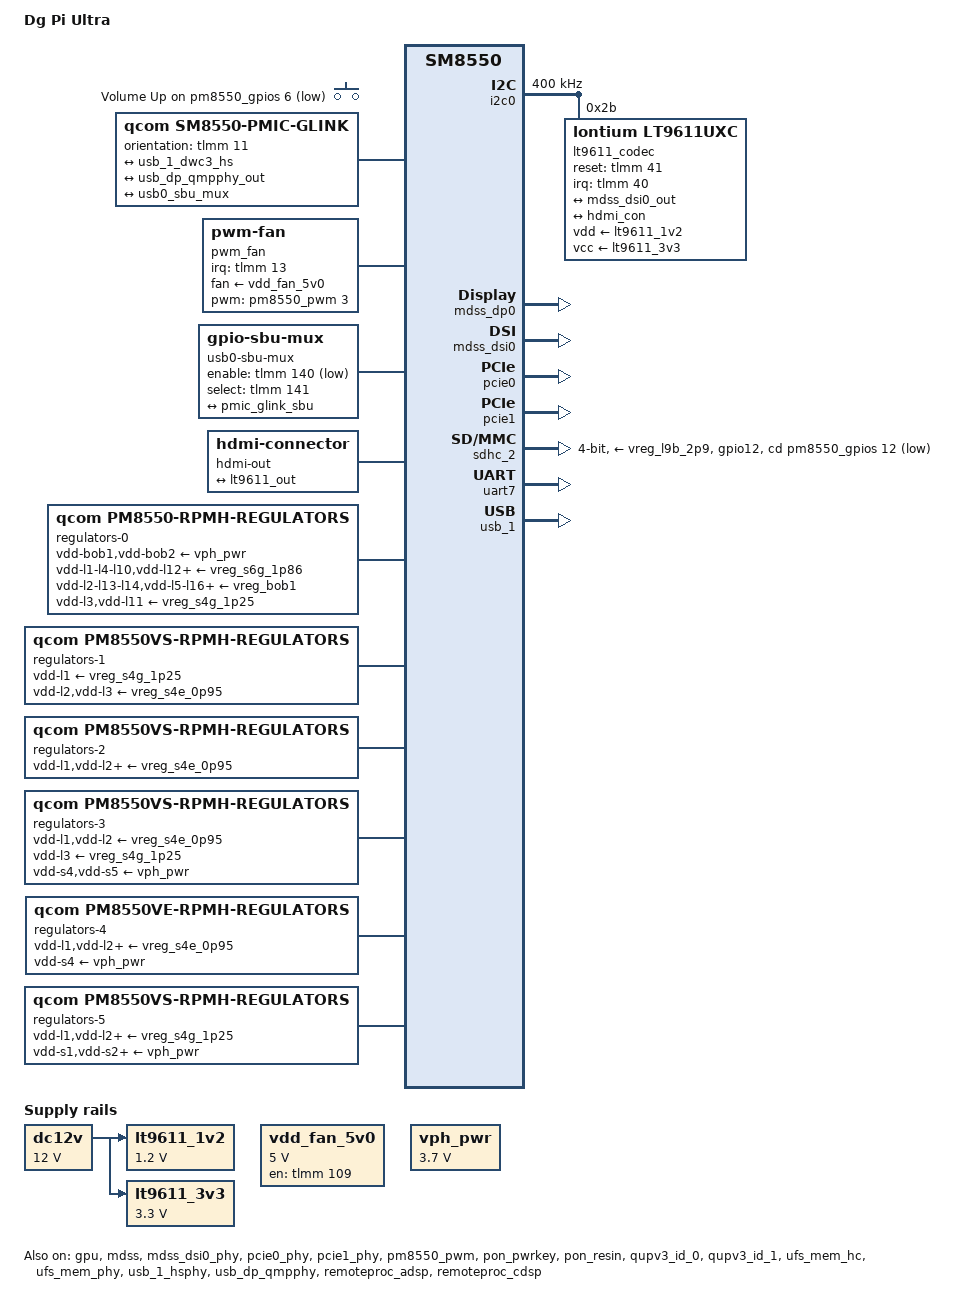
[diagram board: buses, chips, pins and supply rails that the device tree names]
// SPDX-License-Identifier: BSD-3-Clause
/*
 * Copyright (c) 2025, Teguh Sobirin.
 */

#include <dt-bindings/leds/common.h>
#include <dt-bindings/regulator/qcom,rpmh-regulator.h>
#include "qcs8550.dtsi"
#include "pm8550.dtsi"
#include "pm8550b.dtsi"
#define PMK8550VE_SID 5
#include "pm8550ve.dtsi"
#include "pm8550vs.dtsi"
#include "pmk8550.dtsi"

/delete-node/ &aop_config_mem;
/delete-node/ &camera_mem;
/delete-node/ &ipa_fw_mem;
/delete-node/ &ipa_gsi_mem;
/delete-node/ &mpss_dsm_mem;
/delete-node/ &mpss_mem;
/delete-node/ &q6_mpss_dtb_mem;

/delete-node/ &cci0;
/delete-node/ &cci1;
/delete-node/ &cci2;
/delete-node/ &camcc;
/delete-node/ &remoteproc_mpss;

/ {
	chassis-type = "handset";
	model = "Dg Pi Ultra";
	compatible = "dg,piultra", "qcom,qcs8550", "qcom,sm8550";
	qcom,msm-id = <603 0x20000>;
	qcom,board-id = <0x1001f 0>;

	aliases {
		serial0 = &uart7;
		serial1 = &uart14;
		serial2 = &uart15;
	};

	chosen {
		stdout-path = "serial0:115200n8";
	};

	gpio-keys {
		compatible = "gpio-keys";

		pinctrl-0 = <&volume_up_n>;
		pinctrl-names = "default";

		key-volume-up {
			label = "Volume Up";
			debounce-interval = <15>;
			gpios = <&pm8550_gpios 6 GPIO_ACTIVE_LOW>;
			linux,code = <KEY_VOLUMEUP>;
			linux,can-disable;
			wakeup-source;
		};
	};

	pmic-glink {
		compatible = "qcom,sm8550-pmic-glink", "qcom,pmic-glink";
		#address-cells = <1>;
		#size-cells = <0>;
		orientation-gpios = <&tlmm 11 GPIO_ACTIVE_HIGH>;

		connector@0 {
			compatible = "usb-c-connector";
			reg = <0>;
			power-role = "dual";
			data-role = "dual";

			ports {
				#address-cells = <1>;
				#size-cells = <0>;

				port@0 {
					reg = <0>;

					pmic_glink_hs_in: endpoint {
						remote-endpoint = <&usb_1_dwc3_hs>;
					};
				};

				port@1 {
					reg = <1>;

					pmic_glink_ss_in: endpoint {
						remote-endpoint = <&usb_dp_qmpphy_out>;
					};
				};

				port@2 {
					reg = <2>;

					pmic_glink_sbu: endpoint {
						remote-endpoint = <&usb0_sbu_mux>;
					};
				};
			};
		};
	};

	pwm_fan: pwm-fan {
		// 40 -> 1550 RPM
		// 65 -> 2450 RPM
		// 75 -> 2750 RPM
		// 90 -> 3250 RPM
		// 100 -> 3550 RPM
		// 130 -> 4400 RPM
		// 150 -> 4850 RPM
		// 180 -> 5500 RPM
		// 255 -> 6000 RPM
		compatible = "pwm-fan";
		/* level (0, 1, 2, 3, 4, 5, 6, 7) */
		cooling-levels = <0 40 65 75 90 100 130 150>;
		#cooling-cells = <2>;
		fan-supply = <&vdd_fan_5v0>;
		pwms = <&pm8550_pwm 3 100000>;

		pinctrl-names = "default";
		pinctrl-0 = <&fan_pwm_active &fan_int>;

		pulses-per-revolution = <4>;
		interrupt-parent = <&tlmm>;
		interrupts = <13 IRQ_TYPE_EDGE_FALLING>;
	};

	reserved-memory {
		hyp_mem: hyp-region@80000000 {
			reg = <0 0x80000000 0 0xa00000>;
			no-map;
		};

		cpusys_vm_mem: cpusys-vm-region@80a00000 {
			reg = <0 0x80a00000 0 0x400000>;
			no-map;
		};

		hyp_tags_mem: hyp-tags-region@80e00000 {
			reg = <0 0x80e00000 0 0x3d0000>;
			no-map;
		};

		xbl_sc_mem: xbl-sc-region@d8100000 {
			reg = <0 0xd8100000 0 0x40000>;
			no-map;
		};

		hyp_tags_reserved_mem: hyp-tags-reserved-region@811d0000 {
			reg = <0 0x811d0000 0 0x30000>;
			no-map;
		};

		xbl_dt_log_merged_mem: xbl-dt-log-merged-region@81a00000 {
			reg = <0 0x81a00000 0 0x260000>;
			no-map;
		};

		aop_config_merged_mem: aop-config-merged-region@81c80000 {
			reg = <0 0x81c80000 0 0x74000>;
			no-map;
		};

		chipinfo_mem: chipinfo-region@81cf4000 {
			reg = <0 0x81cf4000 0 0x1000>;
			no-map;
		};

		global_sync_mem: global-sync-region@82600000 {
			reg = <0 0x82600000 0 0x100000>;
			no-map;
		};

		tz_stat_mem: tz-stat-region@82700000 {
			reg = <0 0x82700000 0 0x100000>;
			no-map;
		};

		cpucp_fw_mem: cpucp-fw-region@d8140000 {
			reg = <0 0xd8140000 0 0x1c0000>;
			no-map;
		};

		qtee_mem: qtee-region@d8300000 {
			reg = <0 0xd8300000 0 0x500000>;
			no-map;
		};

		hwfence_shbuf: hwfence-shbuf-region@e6440000 {
			reg = <0 0xe6440000 0 0x2dd000>;
			no-map;
		};

		hyp_ext_reserved_mem: hyp-ext-reserved-region@ff700000 {
			reg = <0 0xff700000 0 0x100000>;
			no-map;
		};

		llcc_lpi_mem: llcc_lpi_region@ff800000 {
			reg = <0 0xff800000 0 0x600000>;
			no-map;
		};

		hyp_ext_tags_mem: hyp-ext-tags-region@fce00000 {
			reg = <0 0xfce00000 0 0x2900000>;
			no-map;
		};
	};

	thermal-zones {
		cpuss2-thermal {
			trips {
				// cpu7_middle_alert0: trip-point0 {
				// 	temperature = <90000>;
				// 	hysteresis = <2000>;
				// 	type = "passive";
				// };

				// cpu7_middle_alert1: trip-point1 {
				// 	temperature = <95000>;
				// 	hysteresis = <2000>;
				// 	type = "passive";
				// };

				// cpu7_middle_crit: cpu-critical {
				// 	temperature = <110000>;
				// 	hysteresis = <1000>;
				// 	type = "critical";
				// };

				cpu7_middle_fan0: trip-point2 {
					temperature = <50000>;
					hysteresis = <2000>;
					type = "active";
				};

				cpu7_middle_fan1: trip-point3 {
					temperature = <55000>;
					hysteresis = <2000>;
					type = "active";
				};

				cpu7_middle_fan2: trip-point4 {
					temperature = <60000>;
					hysteresis = <2000>;
					type = "active";
				};

				cpu7_middle_fan3: trip-point5 {
					temperature = <65000>;
					hysteresis = <2000>;
					type = "active";
				};

				cpu7_middle_fan4: trip-point6 {
					temperature = <70000>;
					hysteresis = <2000>;
					type = "active";
				};

				cpu7_middle_fan5: trip-point7 {
					temperature = <75000>;
					hysteresis = <2000>;
					type = "active";
				};

				cpu7_middle_fan6: trip-point8 {
					temperature = <80000>;
					hysteresis = <2000>;
					type = "active";
				};

				// cpu7_middle_fan7: trip-point9 {
				// 	temperature = <75000>;
				// 	hysteresis = <2000>;
				// 	type = "active";
				// };

				// cpu7_middle_fan8: trip-point10 {
				// 	temperature = <80000>;
				// 	hysteresis = <2000>;
				// 	type = "active";
				// };
			};

			cooling-maps {
				map0 {
					trip = <&cpu7_middle_fan0>;
					cooling-device = <&pwm_fan 0 1>;
				};
				map1 {
					trip = <&cpu7_middle_fan1>;
					cooling-device = <&pwm_fan 1 2>;
				};
				map2 {
					trip = <&cpu7_middle_fan2>;
					cooling-device = <&pwm_fan 2 3>;
				};
				map3 {
					trip = <&cpu7_middle_fan3>;
					cooling-device = <&pwm_fan 3 4>;
				};
				map4 {
					trip = <&cpu7_middle_fan4>;
					cooling-device = <&pwm_fan 4 5>;
				};
				map5 {
					trip = <&cpu7_middle_fan5>;
					cooling-device = <&pwm_fan 5 6>;
				};
				map6 {
					trip = <&cpu7_middle_fan6>;
					cooling-device = <&pwm_fan 6 7>;
				};
				// map7 {
				// 	trip = <&cpu7_middle_fan7>;
				// 	cooling-device = <&pwm_fan 7 8>;
				// };
				// map8 {
				// 	trip = <&cpu7_middle_fan8>;
				// 	cooling-device = <&pwm_fan 8 9>;
				// };
			};
		};
	};

	usb0-sbu-mux {
		compatible = "gpio-sbu-mux";

		enable-gpios = <&tlmm 140 GPIO_ACTIVE_LOW>;
		select-gpios = <&tlmm 141 GPIO_ACTIVE_HIGH>;

		pinctrl-names = "default";
		pinctrl-0 = <&usb0_sbu_default>;

		mode-switch;
		orientation-switch;

		port {
			usb0_sbu_mux: endpoint {
				remote-endpoint = <&pmic_glink_sbu>;
			};
		};
	};

	leds {
		compatible = "gpio-leds";

		// led-user4 {
		// 	label = "green:user4";
		// 	function = LED_FUNCTION_INDICATOR;
		// 	color = <LED_COLOR_ID_GREEN>;
		// 	gpios = <&pm8150_gpios 10 GPIO_ACTIVE_HIGH>;
		// 	default-state = "off";
		// 	panic-indicator;
		// };

		// led-wlan {
		// 	label = "yellow:wlan";
		// 	function = LED_FUNCTION_WLAN;
		// 	color = <LED_COLOR_ID_YELLOW>;
		// 	gpios = <&pm8150_gpios 9 GPIO_ACTIVE_HIGH>;
		// 	linux,default-trigger = "phy0tx";
		// 	default-state = "off";
		// };

		// led-bt {
		// 	label = "blue:bt";
		// 	function = LED_FUNCTION_BLUETOOTH;
		// 	color = <LED_COLOR_ID_BLUE>;
		// 	gpios = <&pm8150_gpios 7 GPIO_ACTIVE_HIGH>;
		// 	linux,default-trigger = "bluetooth-power";
		// 	default-state = "off";
		// };
	};

	hdmi-out {
		compatible = "hdmi-connector";
		type = "a";

		port {
			hdmi_con: endpoint {
				remote-endpoint = <&lt9611_out>;
			};
		};
	};

	dc12v: dc12v-regulator {
		compatible = "regulator-fixed";
		regulator-name = "DC12V";
		regulator-min-microvolt = <12000000>;
		regulator-max-microvolt = <12000000>;
		regulator-always-on;
	};

	vdd_fan_5v0: vdd-fan-5v0-regulator {
		compatible = "regulator-fixed";
		regulator-name = "vdd_fan_5v0";

		regulator-min-microvolt = <5000000>;
		regulator-max-microvolt = <5000000>;

		gpio = <&tlmm 109 GPIO_ACTIVE_HIGH>;
		enable-active-high;

		pinctrl-names = "default";
		pinctrl-0 = <&fan_pwr_active>;

		regulator-state-mem {
			regulator-off-in-suspend;
		};
	};

	lt9611_1v2: lt9611-vdd12-regulator {
		compatible = "regulator-fixed";
		regulator-name = "LT9611_1V2";

		vin-supply = <&dc12v>;
		regulator-min-microvolt = <1200000>;
		regulator-max-microvolt = <1200000>;
	};

	lt9611_3v3: lt9611-3v3 {
		compatible = "regulator-fixed";
		regulator-name = "LT9611_3V3";

		vin-supply = <&dc12v>;
		regulator-min-microvolt = <3300000>;
		regulator-max-microvolt = <3300000>;
		regulator-boot-on;
		regulator-always-on;
	};

	vph_pwr: regulator-vph-pwr {
		compatible = "regulator-fixed";
		regulator-name = "vph_pwr";
		regulator-min-microvolt = <3700000>;
		regulator-max-microvolt = <3700000>;

		regulator-always-on;
		regulator-boot-on;
	};
};

&apps_rsc {
        regulators-0 {
                compatible = "qcom,pm8550-rpmh-regulators";
                qcom,pmic-id = "b";

                vdd-bob1-supply = <&vph_pwr>;
                vdd-bob2-supply = <&vph_pwr>;
                vdd-l1-l4-l10-supply = <&vreg_s6g_1p86>;
                vdd-l2-l13-l14-supply = <&vreg_bob1>;
                vdd-l3-supply = <&vreg_s4g_1p25>;
                vdd-l5-l16-supply = <&vreg_bob1>;
                vdd-l6-l7-supply = <&vreg_bob1>;
                vdd-l8-l9-supply = <&vreg_bob1>;
                vdd-l11-supply = <&vreg_s4g_1p25>;
                vdd-l12-supply = <&vreg_s6g_1p86>;
                vdd-l15-supply = <&vreg_s6g_1p86>;
                vdd-l17-supply = <&vreg_bob2>;

                vreg_bob1: bob1 {
                        regulator-name = "vreg_bob1";
                        regulator-min-microvolt = <3008000>;
                        regulator-max-microvolt = <3960000>;
                        regulator-initial-mode = <RPMH_REGULATOR_MODE_HPM>;
                };

                vreg_bob2: bob2 {
                        regulator-name = "vreg_bob2";
                        regulator-min-microvolt = <2704000>;
                        regulator-max-microvolt = <3960000>;
                        regulator-initial-mode = <RPMH_REGULATOR_MODE_HPM>;
                };

                vreg_l1b_1p8: ldo1 {
                        regulator-name = "vreg_l1b_1p8";
                        regulator-min-microvolt = <1800000>;
                        regulator-max-microvolt = <1800000>;
                        regulator-initial-mode = <RPMH_REGULATOR_MODE_HPM>;
                };

                vreg_l2b_3p0: ldo2 {
                        regulator-name = "vreg_l2b_3p0";
                        regulator-min-microvolt = <3008000>;
                        regulator-max-microvolt = <3008000>;
                        regulator-initial-mode = <RPMH_REGULATOR_MODE_HPM>;
                };

                vreg_l6b_1p8: ldo6 {
                        regulator-name = "vreg_l6b_1p8";
                        regulator-min-microvolt = <1800000>;
                        regulator-max-microvolt = <3008000>;
                        regulator-initial-mode = <RPMH_REGULATOR_MODE_HPM>;
                };

                vreg_l7b_1p8: ldo7 {
                        regulator-name = "vreg_l7b_1p8";
                        regulator-min-microvolt = <1800000>;
                        regulator-max-microvolt = <3008000>;
                        regulator-initial-mode = <RPMH_REGULATOR_MODE_HPM>;
                };

                vreg_l8b_1p8: ldo8 {
                        regulator-name = "vreg_l8b_1p8";
                        regulator-min-microvolt = <1800000>;
                        regulator-max-microvolt = <3008000>;
                        regulator-initial-mode = <RPMH_REGULATOR_MODE_HPM>;
                };

                vreg_l9b_2p9: ldo9 {
                        regulator-name = "vreg_l9b_2p9";
                        regulator-min-microvolt = <2960000>;
                        regulator-max-microvolt = <3008000>;
                        regulator-initial-mode = <RPMH_REGULATOR_MODE_HPM>;
                };

                vreg_l10b_1p8: ldo10 {
                        regulator-name = "vreg_l10b_1p8";
                        regulator-min-microvolt = <1800000>;
                        regulator-max-microvolt = <1800000>;
                        regulator-initial-mode = <RPMH_REGULATOR_MODE_HPM>;
                };

                vreg_l11b_1p2: ldo11 {
                        regulator-name = "vreg_l11b_1p2";
                        regulator-min-microvolt = <1200000>;
                        regulator-max-microvolt = <1504000>;
                        regulator-initial-mode = <RPMH_REGULATOR_MODE_HPM>;
                };

                vreg_l12b_1p8: ldo12 {
                        regulator-name = "vreg_l12b_1p8";
                        regulator-min-microvolt = <1800000>;
                        regulator-max-microvolt = <1800000>;
                        regulator-initial-mode = <RPMH_REGULATOR_MODE_HPM>;
                };

                vreg_l13b_3p0: ldo13 {
                        regulator-name = "vreg_l13b_3p0";
                        regulator-min-microvolt = <3000000>;
                        regulator-max-microvolt = <3000000>;
                        regulator-initial-mode = <RPMH_REGULATOR_MODE_HPM>;
                };

                vreg_l14b_3p2: ldo14 {
                        regulator-name = "vreg_l14b_3p2";
                        regulator-min-microvolt = <3200000>;
                        regulator-max-microvolt = <3200000>;
                        regulator-initial-mode = <RPMH_REGULATOR_MODE_HPM>;
                };

                vreg_l15b_1p8: ldo15 {
                        regulator-name = "vreg_l15b_1p8";
                        regulator-min-microvolt = <1800000>;
                        regulator-max-microvolt = <1800000>;
                        regulator-initial-mode = <RPMH_REGULATOR_MODE_HPM>;
                };

                vreg_l16b_2p8: ldo16 {
                        regulator-name = "vreg_l16b_2p8";
                        regulator-min-microvolt = <2800000>;
                        regulator-max-microvolt = <2800000>;
                        regulator-initial-mode = <RPMH_REGULATOR_MODE_HPM>;
                };

                vreg_l17b_2p5: ldo17 {
                        regulator-name = "vreg_l17b_2p5";
                        regulator-min-microvolt = <2504000>;
                        regulator-max-microvolt = <2504000>;
                        regulator-initial-mode = <RPMH_REGULATOR_MODE_HPM>;
                };
        };

        regulators-1 {
                compatible = "qcom,pm8550vs-rpmh-regulators";
                qcom,pmic-id = "c";

                vdd-l1-supply = <&vreg_s4g_1p25>;
                vdd-l2-supply = <&vreg_s4e_0p95>;
                vdd-l3-supply = <&vreg_s4e_0p95>;

                vreg_l1c_1p2: ldo1 {
                        regulator-name = "vreg_l1c_1p2";
                        regulator-min-microvolt = <1200000>;
                        regulator-max-microvolt = <1200000>;
                        regulator-initial-mode = <RPMH_REGULATOR_MODE_HPM>;
                };

                vreg_l3c_0p9: ldo3 {
                        regulator-name = "vreg_l3c_0p9";
                        regulator-min-microvolt = <880000>;
                        regulator-max-microvolt = <912000>;
                        regulator-initial-mode = <RPMH_REGULATOR_MODE_HPM>;
                };
        };

        regulators-2 {
                compatible = "qcom,pm8550vs-rpmh-regulators";
                qcom,pmic-id = "d";

                vdd-l1-supply = <&vreg_s4e_0p95>;
                vdd-l2-supply = <&vreg_s4e_0p95>;
                vdd-l3-supply = <&vreg_s4e_0p95>;

                vreg_l1d_0p88: ldo1 {
                        regulator-name = "vreg_l1d_0p88";
                        regulator-min-microvolt = <880000>;
                        regulator-max-microvolt = <920000>;
                        regulator-initial-mode = <RPMH_REGULATOR_MODE_HPM>;
                };
        };

        regulators-3 {
                compatible = "qcom,pm8550vs-rpmh-regulators";
                qcom,pmic-id = "e";

                vdd-l1-supply = <&vreg_s4e_0p95>;
                vdd-l2-supply = <&vreg_s4e_0p95>;
                vdd-l3-supply = <&vreg_s4g_1p25>;
                vdd-s4-supply = <&vph_pwr>;
                vdd-s5-supply = <&vph_pwr>;

                vreg_s4e_0p95: smps4 {
                        regulator-name = "vreg_s4e_0p95";
                        regulator-min-microvolt = <904000>;
                        regulator-max-microvolt = <984000>;
                        regulator-initial-mode = <RPMH_REGULATOR_MODE_HPM>;
                };

                vreg_s5e_1p08: smps5 {
                        regulator-name = "vreg_s5e_1p08";
                        regulator-min-microvolt = <1010000>;
                        regulator-max-microvolt = <1120000>;
                        regulator-initial-mode = <RPMH_REGULATOR_MODE_HPM>;
                };

                vreg_l1e_0p88: ldo1 {
                        regulator-name = "vreg_l1e_0p88";
                        regulator-min-microvolt = <880000>;
                        regulator-max-microvolt = <912000>;
                        regulator-initial-mode = <RPMH_REGULATOR_MODE_HPM>;
                };

                vreg_l2e_0p9: ldo2 {
                        regulator-name = "vreg_l2e_0p9";
                        regulator-min-microvolt = <870000>;
                        regulator-max-microvolt = <970000>;
                        regulator-initial-mode = <RPMH_REGULATOR_MODE_HPM>;
                };

                vreg_l3e_1p2: ldo3 {
                        regulator-name = "vreg_l3e_1p2";
                        regulator-min-microvolt = <1200000>;
                        regulator-max-microvolt = <1200000>;
                        regulator-initial-mode = <RPMH_REGULATOR_MODE_HPM>;
                };
        };

        regulators-4 {
                compatible = "qcom,pm8550ve-rpmh-regulators";
                qcom,pmic-id = "f";

                vdd-l1-supply = <&vreg_s4e_0p95>;
                vdd-l2-supply = <&vreg_s4e_0p95>;
                vdd-l3-supply = <&vreg_s4e_0p95>;
                vdd-s4-supply = <&vph_pwr>;

                vreg_s4f_0p5: smps4 {
                        regulator-name = "vreg_s4f_0p5";
                        regulator-min-microvolt = <300000>;
                        regulator-max-microvolt = <700000>;
                        regulator-initial-mode = <RPMH_REGULATOR_MODE_HPM>;
                };

                vreg_l1f_0p9: ldo1 {
                        regulator-name = "vreg_l1f_0p9";
                        regulator-min-microvolt = <880000>;
                        regulator-max-microvolt = <912000>;
                        regulator-initial-mode = <RPMH_REGULATOR_MODE_HPM>;
                };

                vreg_l2f_0p88: ldo2 {
                        regulator-name = "vreg_l2f_0p88";
                        regulator-min-microvolt = <880000>;
                        regulator-max-microvolt = <912000>;
                        regulator-initial-mode = <RPMH_REGULATOR_MODE_HPM>;
                };

                vreg_l3f_0p88: ldo3 {
                        regulator-name = "vreg_l3f_0p88";
                        regulator-min-microvolt = <880000>;
                        regulator-max-microvolt = <912000>;
                        regulator-initial-mode = <RPMH_REGULATOR_MODE_HPM>;
                };
        };

        regulators-5 {
                compatible = "qcom,pm8550vs-rpmh-regulators";
                qcom,pmic-id = "g";
                vdd-l1-supply = <&vreg_s4g_1p25>;
                vdd-l2-supply = <&vreg_s4g_1p25>;
                vdd-l3-supply = <&vreg_s4g_1p25>;
                vdd-s1-supply = <&vph_pwr>;
                vdd-s2-supply = <&vph_pwr>;
                vdd-s3-supply = <&vph_pwr>;
                vdd-s4-supply = <&vph_pwr>;
                vdd-s5-supply = <&vph_pwr>;
                vdd-s6-supply = <&vph_pwr>;

                vreg_s1g_1p25: smps1 {
                        regulator-name = "vreg_s1g_1p25";
                        regulator-min-microvolt = <1200000>;
                        regulator-max-microvolt = <1300000>;
                        regulator-initial-mode = <RPMH_REGULATOR_MODE_HPM>;
                };

                vreg_s2g_0p85: smps2 {
                        regulator-name = "vreg_s2g_0p85";
                        regulator-min-microvolt = <500000>;
                        regulator-max-microvolt = <1036000>;
                        regulator-initial-mode = <RPMH_REGULATOR_MODE_HPM>;
                };

                vreg_s3g_0p8: smps3 {
                        regulator-name = "vreg_s3g_0p8";
                        regulator-min-microvolt = <300000>;
                        regulator-max-microvolt = <1004000>;
                        regulator-initial-mode = <RPMH_REGULATOR_MODE_HPM>;
                };

                vreg_s4g_1p25: smps4 {
                        regulator-name = "vreg_s4g_1p25";
                        regulator-min-microvolt = <1200000>;
                        regulator-max-microvolt = <1352000>;
                        regulator-initial-mode = <RPMH_REGULATOR_MODE_HPM>;
                };

                vreg_s5g_0p85: smps5 {
                        regulator-name = "vreg_s5g_0p85";
                        regulator-min-microvolt = <500000>;
                        regulator-max-microvolt = <1004000>;
                        regulator-initial-mode = <RPMH_REGULATOR_MODE_HPM>;
                };

                vreg_s6g_1p86: smps6 {
                        regulator-name = "vreg_s6g_1p86";
                        regulator-min-microvolt = <1800000>;
                        regulator-max-microvolt = <2000000>;
                        regulator-initial-mode = <RPMH_REGULATOR_MODE_HPM>;
                };

                vreg_l1g_1p2: ldo1 {
                        regulator-name = "vreg_l1g_1p2";
                        regulator-min-microvolt = <1144000>;
                        regulator-max-microvolt = <1256000>;
                        regulator-initial-mode = <RPMH_REGULATOR_MODE_HPM>;
                };

                vreg_l2g_1p2: ldo2 {
                        regulator-name = "vreg_l2g_1p2";
                        regulator-min-microvolt = <1100000>;
                        regulator-max-microvolt = <1200000>;
                        regulator-initial-mode = <RPMH_REGULATOR_MODE_HPM>;
                };

                vreg_l3g_1p2: ldo3 {
                        regulator-name = "vreg_l3g_1p2";
                        regulator-min-microvolt = <1200000>;
                        regulator-max-microvolt = <1200000>;
                        regulator-initial-mode = <RPMH_REGULATOR_MODE_HPM>;
                };
        };

        regulators-6 {
                compatible = "qcom,pmr-nalojrk-rpmh-regulators";
                qcom,pmic-id = "k";

                vreg_l1k_0p4: ldo1 {
                        regulator-name = "vreg_l1k_0p4";
                        regulator-min-microvolt = <400000>;
                        regulator-max-microvolt = <900000>;
                        regulator-initial-mode = <RPMH_REGULATOR_MODE_HPM>;
                };

                vreg_l2k_0p5: ldo2 {
                        regulator-name = "vreg_l2k_0p5";
                        regulator-min-microvolt = <500000>;
                        regulator-max-microvolt = <900000>;
                        regulator-initial-mode = <RPMH_REGULATOR_MODE_HPM>;
                };

                vreg_l3k_0p88: ldo3 {
                        regulator-name = "vreg_l3k_0p88";
                        regulator-min-microvolt = <880000>;
                        regulator-max-microvolt = <912000>;
                        regulator-initial-mode = <RPMH_REGULATOR_MODE_HPM>;
                };

                vreg_l4k_1p2: ldo4 {
                        regulator-name = "vreg_l4k_1p2";
                        regulator-min-microvolt = <1200000>;
                        regulator-max-microvolt = <1200000>;
                        regulator-initial-mode = <RPMH_REGULATOR_MODE_HPM>;
                };

                vreg_l6k_1p77: ldo6 {
                        regulator-name = "vreg_l6k_1p77";
                        regulator-min-microvolt = <1776000>;
                        regulator-max-microvolt = <1900000>;
                        regulator-initial-mode = <RPMH_REGULATOR_MODE_HPM>;
                };

                vreg_l7k_1p2: ldo7 {
                        regulator-name = "vreg_l7k_1p2";
                        regulator-min-microvolt = <1200000>;
                        regulator-max-microvolt = <1200000>;
                        regulator-initial-mode = <RPMH_REGULATOR_MODE_HPM>;
                };
        };

        regulators-7 {
                compatible = "qcom,pmr-nalojrl-rpmh-regulators";
                qcom,pmic-id = "l";

                vreg_l3l_0p88: ldo3 {
                        regulator-name = "vreg_l3l_0p88";
                        regulator-min-microvolt = <880000>;
                        regulator-max-microvolt = <912000>;
                        regulator-initial-mode = <RPMH_REGULATOR_MODE_HPM>;
                };

                vreg_l4l_1p2: ldo4 {
                        regulator-name = "vreg_l4l_1p2";
                        regulator-min-microvolt = <1200000>;
                        regulator-max-microvolt = <1200000>;
                        regulator-initial-mode = <RPMH_REGULATOR_MODE_HPM>;
                };

                vreg_l6l_1p77: ldo6 {
                        regulator-name = "vreg_l6l_1p77";
                        regulator-min-microvolt = <1776000>;
                        regulator-max-microvolt = <1776000>;
                        regulator-initial-mode = <RPMH_REGULATOR_MODE_HPM>;
                };

                vreg_l7l_0p5: ldo7 {
                        regulator-name = "vreg_l7l_0p5";
                        regulator-min-microvolt = <500000>;
                        regulator-max-microvolt = <900000>;
                        regulator-initial-mode = <RPMH_REGULATOR_MODE_HPM>;
                };
        };

        regulators-8 {
                compatible = "qcom,pm8010m-rpmh-regulators";
                qcom,pmic-id = "m";

                vreg_l1m_1p05: ldo1 {
                        regulator-name = "vreg_l1m_1p05";
                        regulator-min-microvolt = <1056000>;
                        regulator-max-microvolt = <1056000>;
                        regulator-initial-mode = <RPMH_REGULATOR_MODE_HPM>;
                };

                vreg_l2m_1p05: ldo2 {
                        regulator-name = "vreg_l2m_1p05";
                        regulator-min-microvolt = <1056000>;
                        regulator-max-microvolt = <1056000>;
                        regulator-initial-mode = <RPMH_REGULATOR_MODE_HPM>;
                };

                vreg_l3m_2p8: ldo3 {
                        regulator-name = "vreg_l3m_2p8";
                        regulator-min-microvolt = <2800000>;
                        regulator-max-microvolt = <2800000>;
                        regulator-initial-mode = <RPMH_REGULATOR_MODE_HPM>;
                };

                vreg_l4m_2p8: ldo4 {
                        regulator-name = "vreg_l4m_2p8";
                        regulator-min-microvolt = <2800000>;
                        regulator-max-microvolt = <2800000>;
                        regulator-initial-mode = <RPMH_REGULATOR_MODE_HPM>;
                };

                vreg_l5m_1p8: ldo5 {
                        regulator-name = "vreg_l5m_1p8";
                        regulator-min-microvolt = <1800000>;
                        regulator-max-microvolt = <1800000>;
                        regulator-initial-mode = <RPMH_REGULATOR_MODE_HPM>;
                };

                vreg_l6m_1p8: ldo6 {
                        regulator-name = "vreg_l6m_1p8";
                        regulator-min-microvolt = <1800000>;
                        regulator-max-microvolt = <1800000>;
                        regulator-initial-mode = <RPMH_REGULATOR_MODE_HPM>;
                };

                vreg_l7m_2p8: ldo7 {
                        regulator-name = "vreg_l7m_2p8";
                        regulator-min-microvolt = <2800000>;
                        regulator-max-microvolt = <2904000>;
                        regulator-initial-mode = <RPMH_REGULATOR_MODE_HPM>;
                };
        };

        regulators-9 {
                compatible = "qcom,pm8010n-rpmh-regulators";
                qcom,pmic-id = "n";

                vreg_l1n_1p1: ldo1 {
                        regulator-name = "vreg_l1n_1p1";
                        regulator-min-microvolt = <1104000>;
                        regulator-max-microvolt = <1104000>;
                        regulator-initial-mode = <RPMH_REGULATOR_MODE_HPM>;
                };

                vreg_l2n_1p1: ldo2 {
                        regulator-name = "vreg_l2n_1p1";
                        regulator-min-microvolt = <1104000>;
                        regulator-max-microvolt = <1104000>;
                        regulator-initial-mode = <RPMH_REGULATOR_MODE_HPM>;
                };

                vreg_l3n_2p8: ldo3 {
                        regulator-name = "vreg_l3n_2p8";
                        regulator-min-microvolt = <2800000>;
                        regulator-max-microvolt = <2800000>;
                        regulator-initial-mode = <RPMH_REGULATOR_MODE_HPM>;
                };

                vreg_l4n_2p8: ldo4 {
                        regulator-name = "vreg_l4n_2p8";
                        regulator-min-microvolt = <2800000>;
                        regulator-max-microvolt = <2800000>;
                        regulator-initial-mode = <RPMH_REGULATOR_MODE_HPM>;
                };

                vreg_l5n_1p8: ldo5 {
                        regulator-name = "vreg_l5n_1p8";
                        regulator-min-microvolt = <1800000>;
                        regulator-max-microvolt = <1800000>;
                        regulator-initial-mode = <RPMH_REGULATOR_MODE_HPM>;
                };

                vreg_l6n_3p3: ldo6 {
                        regulator-name = "vreg_l6n_3p3";
                        regulator-min-microvolt = <3304000>;
                        regulator-max-microvolt = <3304000>;
                        regulator-initial-mode = <RPMH_REGULATOR_MODE_HPM>;
                };

                vreg_l7n_2p96: ldo7 {
                        regulator-name = "vreg_l7n_2p96";
                        regulator-min-microvolt = <2960000>;
                        regulator-max-microvolt = <2960000>;
                        regulator-initial-mode = <RPMH_REGULATOR_MODE_HPM>;
                };
        };
};

&gpi_dma1 {
	status = "okay";
};

&gpi_dma2 {
	status = "okay";
};

&i2c0 {
	status = "okay";
	clock-frequency = <400000>;

	lt9611_codec: hdmi-bridge@2b {
		compatible = "lontium,lt9611uxc";
		reg = <0x2b>;
		#sound-dai-cells = <1>;

		interrupts-extended = <&tlmm 40 IRQ_TYPE_EDGE_FALLING>;

		reset-gpios = <&tlmm 41 GPIO_ACTIVE_HIGH>;

		vdd-supply = <&lt9611_1v2>;
		vcc-supply = <&lt9611_3v3>;

		pinctrl-names = "default";
		pinctrl-0 = <&lt9611_irq_pin &lt9611_rst_pin>;

		ports {
			#address-cells = <1>;
			#size-cells = <0>;

			port@0 {
				reg = <0>;

				lt9611_a: endpoint {
					remote-endpoint = <&mdss_dsi0_out>;
				};
			};

			port@2 {
				reg = <2>;

				lt9611_out: endpoint {
					remote-endpoint = <&hdmi_con>;
				};
			};

		};
	};
};

&gpu {
	status = "okay";
};

&mdss {
	status = "okay";
};

&mdss_dp0 {
	status = "okay";
	sound-name-prefix = "Display Port0";
};

&mdss_dp0_out {
	data-lanes = <0 1 2 3>;
	link-frequencies = /bits/ 64 <1620000000 2700000000 5400000000 8100000000>;
};

&mdss_dsi0 {
	vdda-supply = <&vreg_l3e_1p2>;
	status = "okay";

	hdmi_out: panel@0 {
		reg = <0>;

		port {
			panel0_in: endpoint {
				remote-endpoint = <&mdss_dsi1_out>;
			};
		};
	};
};

&mdss_dsi0_out {
	remote-endpoint = <&lt9611_a>;
	data-lanes = <0 1 2 3>;
};

&mdss_dsi0_phy {
	vdds-supply = <&vreg_l1e_0p88>;
	status = "okay";
};

&pcie0 {
	perst-gpios = <&tlmm 94 GPIO_ACTIVE_LOW>;
	wake-gpios = <&tlmm 96 GPIO_ACTIVE_HIGH>;

	pinctrl-0 = <&pcie0_default_state>;
	pinctrl-names = "default";

	iommu-map = <0x0   &apps_smmu 0x1400 0x1>,
		<0x100 &apps_smmu 0x1401 0x1>,
		<0x200 &apps_smmu 0x1402 0x1>,
		<0x300 &apps_smmu 0x1403 0x1>,
		<0x400 &apps_smmu 0x1404 0x1>,
		<0x500 &apps_smmu 0x1405 0x1>,
		<0x600 &apps_smmu 0x1406 0x1>,
		<0x700 &apps_smmu 0x1407 0x1>,
		<0x800 &apps_smmu 0x1408 0x1>,
		<0x900 &apps_smmu 0x1409 0x1>,
		<0xa00 &apps_smmu 0x140a 0x1>,
		<0xb00 &apps_smmu 0x140b 0x1>,
		<0xc00 &apps_smmu 0x140c 0x1>,
		<0xd00 &apps_smmu 0x140d 0x1>,
		<0xe00 &apps_smmu 0x140e 0x1>,
		<0xf00 &apps_smmu 0x140f 0x1>;

	status = "okay";
};

&pcie0_phy {
	vdda-phy-supply = <&vreg_l3c_0p9>;
	vdda-pll-supply = <&vreg_l1c_1p2>;

	status = "okay";
};

&pcie1 {
	perst-gpios = <&tlmm 99 GPIO_ACTIVE_LOW>;
	wake-gpios = <&tlmm 97 GPIO_ACTIVE_HIGH>;

	pinctrl-0 = <&pcie0_default_state>;
	pinctrl-names = "default";

	status = "okay";
};

&pcie1_phy {
	vdda-phy-supply = <&vreg_l1e_0p88>;
	vdda-pll-supply = <&vreg_l3e_1p2>;

	status = "okay";
};

&pm8550_gpios {
	fan_pwm_active: fan-pwm-active-state {
		pins = "gpio8";
		function = "func1";
		input-disable;
		output-enable;
		output-low;
		bias-disable;
		power-source = <1>;
	};

	sdc2_card_det_n: sdc2-card-det-n-state {
		pins = "gpio12";
		function = "normal";
		input-enable;
		output-disable;
		bias-pull-up;
		power-source = <1>;
	};

	volume_up_n: volume-up-n-state {
		pins = "gpio6";
		function = "normal";
		power-source = <1>;
		bias-pull-up;
		input-enable;
	};
};

&pm8550_pwm {
	status = "okay";
};

&pm8550b_eusb2_repeater {
	qcom,tune-usb2-disc-thres = /bits/ 8 <0x6>;
	qcom,tune-usb2-amplitude = /bits/ 8 <0xb>;
	qcom,tune-usb2-preem = /bits/ 8 <0x3>;
	vdd18-supply = <&vreg_l15b_1p8>;
	vdd3-supply = <&vreg_l5b_3p1>;
};

&pmk8550_gpios {
	pmk8550_sleep_clk: sleep-clk-state {
		pins = "gpio3";
		function = "func1";
		input-disable;
		output-enable;
		bias-disable;
		power-source = <0>;
	};
};

&pon_pwrkey {
	status = "okay";
};

&pon_resin {
	linux,code = <KEY_VOLUMEDOWN>;

	status = "okay";
};

&qupv3_id_0 {
	status = "okay";
};

&qupv3_id_1 {
	status = "okay";
};

&sdhc_2 {
	cd-gpios = <&pm8550_gpios 12 GPIO_ACTIVE_LOW>;
	pinctrl-names = "default", "sleep";
	pinctrl-0 = <&sdc2_default &sdc2_card_det_n>;
	pinctrl-1 = <&sdc2_sleep &sdc2_card_det_n>;
	vmmc-supply = <&vreg_l9b_2p9>;
	vqmmc-supply = <&vreg_l8b_1p8>;
	bus-width = <4>;
	no-sdio;
	no-mmc;

	qcom,use-level-shifter;
	qcom,dll-config = <0x0007442c>;
	/delete-property/ sdhci-caps-mask;

	status = "okay";
};

&sleep_clk {
	clock-frequency = <32764>;
};

&tlmm {
	fan_pwr_active: fan-pwr-active-state {
		pins = "gpio109";
		function = "gpio";
		drive-strength = <2>;
		bias-disable;
		output-low;
	};

	// fan_int: fan-int-state {
	// 	pins = "gpio13";
	// 	function = "gpio";
	// 	drive-strength = <2>;
	// 	bias-disable;
	// };

	usb0_sbu_default: usb0-sbu-state {
		oe-n-pins {
			pins = "gpio140";
			function = "gpio";
			bias-disable;
			drive-strength = <16>;
			output-high;
		};

		sel-pins {
			pins = "gpio141";
			function = "gpio";
			bias-disable;
			drive-strength = <16>;
		};
	};

	usb_hub_rst_default: usb-hub-rst-state {
		hub-rst-pins {
			pins = "gpio3";
			function = "gpio";
			bias-disable;
			drive-strength = <16>;
			output-high;
		};
	};

	lt9611_irq_pin: lt9611-irq-state {
		pins = "gpio40";
		function = "gpio";
		bias-disable;
	};

	lt9611_rst_pin: lt9611-rst-state {
		pins = "gpio41";
		function = "gpio";

		output-high;
		bias-disable;
	};

	sde_dsi_active: sde-dsi-active-state {
		pins = "gpio133";
		function = "gpio";
		drive-strength = <8>;
		bias-disable;
	};

	sde_dsi_suspend: sde-dsi-suspend-state {
		pins = "gpio133";
		function = "gpio";
		drive-strength = <2>;
		bias-pull-down;
	};

	sde_bl_active: sde-bl-active-state {
		pins = "gpio117";
		function = "gpio";
		drive-strength = <8>;
		bias-disable;
	};

	sde_bl_suspend: sde-bl-suspend-state {
		pins = "gpio117";
		function = "gpio";
		drive-strength = <2>;
		bias-pull-down;
	};

	sde_te_active: sde-te-active-state {
		pins = "gpio86";
		function = "mdp_vsync";
		drive-strength = <2>;
		bias-pull-down;
	};

	sde_te_suspend: sde-te-suspend-state {
		pins = "gpio86";
		function = "mdp_vsync";
		drive-strength = <2>;
		bias-pull-down;
	};

	ts_rst_default: ts-rst-default-state {
		pins = "gpio63";
		function = "gpio";
		bias-pull-up;
		drive-strength = <8>;
	};

	ts_rst_sleep: ts-rst-sleep-state {
		pins = "gpio63";
		function = "gpio";
		bias-pull-down;
		drive-strength = <2>;
	};

	ts_int_default: ts-int-default-state {
		pins = "gpio72";
		function = "gpio";
		bias-pull-up;
		drive-strength = <8>;
	};

	ts_int_sleep: ts-int-sleep-state {
		pins = "gpio72";
		function = "gpio";
		bias-pull-down;
		drive-strength = <2>;
	};
};

&uart7 {
	status = "okay";
};

&ufs_mem_hc {
	reset-gpios = <&tlmm 210 GPIO_ACTIVE_LOW>;
	vcc-supply = <&vreg_l17b_2p5>;
	vcc-max-microamp = <1300000>;
	vccq-supply = <&vreg_l1g_1p2>;
	vccq-max-microamp = <1200000>;
	vdd-hba-supply = <&vreg_l3g_1p2>;

	status = "okay";
};

&ufs_mem_phy {
	vdda-phy-supply = <&vreg_l1d_0p88>;
	vdda-pll-supply = <&vreg_l3e_1p2>;

	status = "okay";
};

&usb_1 {
	status = "okay";
};

&usb_1_dwc3_hs {
	remote-endpoint = <&pmic_glink_hs_in>;
};

&usb_1_hsphy {
	phys = <&pm8550b_eusb2_repeater>;

	vdd-supply = <&vreg_l1e_0p88>;
	vdda12-supply = <&vreg_l3e_1p2>;

	status = "okay";
};

&usb_dp_qmpphy {
	vdda-phy-supply = <&vreg_l3e_1p2>;
	vdda-pll-supply = <&vreg_l3f_0p88>;

	mode-switch;

	status = "okay";
};

&usb_dp_qmpphy_out {
	remote-endpoint = <&pmic_glink_ss_in>;
};

&xo_board {
	clock-frequency = <76800000>;
};

&gpu {
	zap-shader {
		firmware-name = "qcom/sm8550/ayn/odin2portal/a740_zap.mbn";
	};
};

&remoteproc_adsp {
	firmware-name = "qcom/sm8550/ayn/odin2portal/adsp.mbn",
			"qcom/sm8550/ayn/odin2portal/adsp_dtb.mbn";
	status = "okay";
};

&remoteproc_cdsp {
	firmware-name = "qcom/sm8550/ayn/odin2portal/cdsp.mbn",
			"qcom/sm8550/ayn/odin2portal/cdsp_dtb.mbn";
	status = "okay";
};
